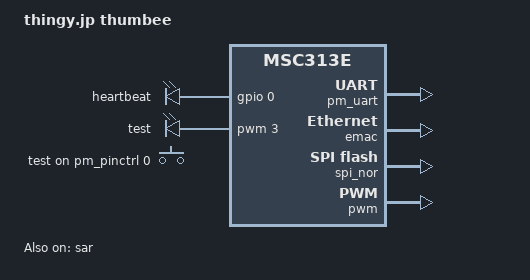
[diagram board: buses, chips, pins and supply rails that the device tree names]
/*
 */

/dts-v1/;
#include "msc313e.dtsi"
#include <dt-bindings/gpio/gpio.h>

/ {
	model = "thingy.jp thumbee";
	compatible = "thingyjp,thumbee", "mstar,msc313e";

	chosen {
		stdout-path = "serial0:115200n8";
	};

	aliases {
		console = &pm_uart;
	};
	
	leds {
		compatible = "gpio-leds";
		heartbeat {
			gpios = <&gpio 0 GPIO_ACTIVE_HIGH>;
			linux,default-trigger = "heartbeat";
		};
	};
	
	pwmleds {
		compatible = "pwm-leds";
		test {
			pwms = <&pwm 3 0>;
			max-brightness = <127>;
		};
	};
	
	gpio-keys {
		compatible = "gpio-keys";
		interrupt-parent = <&pm_pinctrl>;
		test {
			label = "test";
			linux,code = <103>;
			gpios = <&pm_pinctrl 0 IRQ_TYPE_LEVEL_HIGH>;
		};
	};
};

&pm_uart {
	status = "okay";
};

&emac {
	status = "okay";
};

&spi_nor {
	status = "okay";
	partitions {
		compatible = "fixed-partitions";
		#address-cells = <1>;
		#size-cells = <1>;
		
		rootfs@800000 {
			label = "rootfs";
			reg = <0x800000 0x800000>;
		};
	};
};

&sar {
	status = "okay";
};

&pwm {
	pinctrl-names = "default";
	pinctrl-0 = <&pwm1_pins>;
	status = "okay";
};
